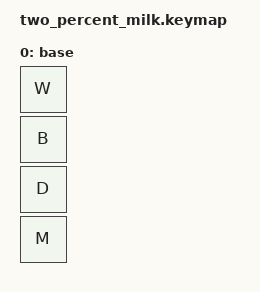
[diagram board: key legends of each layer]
/*
 * Copyright (c) 2022 The ZMK Contributors
 *
 * SPDX-License-Identifier: MIT
 */

#include <behaviors.dtsi>
#include <dt-bindings/zmk/keys.h>
#include <dt-bindings/zmk/bt.h>

/ {
    keymap {
        compatible = "zmk,keymap";

        base {
            /* Tasten: W, B, D, M */
            bindings = <
                &kp W
                &kp B
                &kp D
                &kp M
            >;
        };
    };
};
